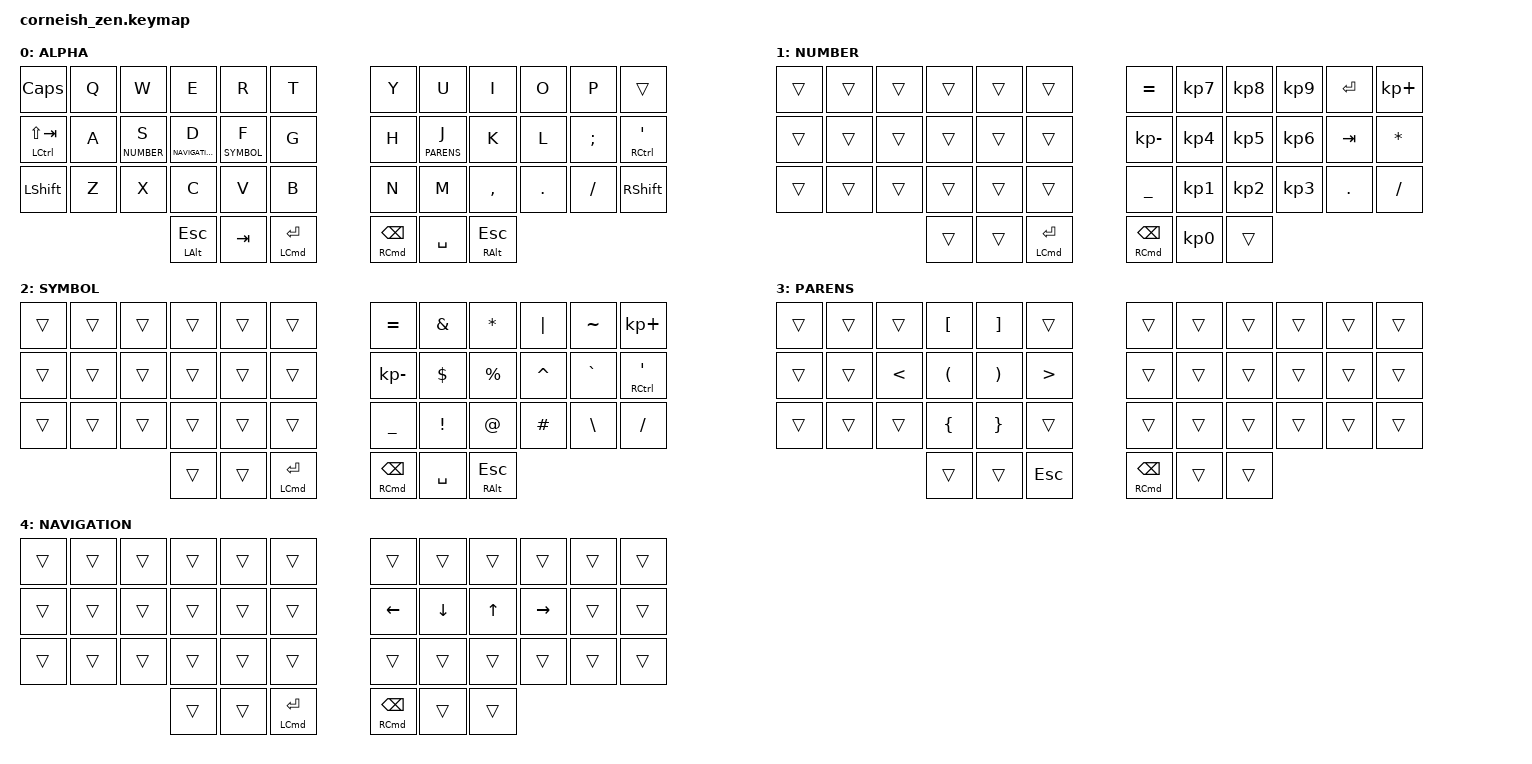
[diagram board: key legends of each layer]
/*
*
* Copyright (c) 2021 Darryl deHaan
* SPDX-License-Identifier: MIT
* Modified by Alex Harms 24 February 2023
*/

#include <behaviors.dtsi>
#include <dt-bindings/zmk/keys.h>
#include <dt-bindings/zmk/bt.h>

/ {
  chosen {
    zmk,matrix_transform = &default_transform;
    //zmk,matrix_transform = &five_column_transform;
  };
};

// Mystery stuff above, my keymap below - AH

// Alex's Layers // Layer definitions must remain in this order within the keymap. 
#define ALPHA 0
#define NUMBER 1
#define SYMBOL 2
#define PARENS 3
#define NAVIGATION 4 

// names to make the keymap easier to read
#define ___ENTER__ &kp ENTER
#define ___SPACE__ &kp SPACE
#define ___TAB____ &kp TAB
#define __COMMA___ &kp COMMA
#define __PERIOD__ &kp PERIOD
#define __TILDE___ &kp TILDE
#define _BACKTICK_ &kp GRAVE
#define __CARET___ &kp CARET
#define _AT_SIGN__ &kp AT_SIGN
#define ___BANG___ &kp EXCLAMATION
#define ___HASH___ &kp HASH
#define _BACKSLASH &kp BACKSLASH
#define ___PIPE___ &kp PIPE
#define __DOLLAR__ &kp DOLLAR
#define _PERCENT__ &kp PERCENT
#define __SLASH___ &kp SLASH
#define ___PLUS___ &kp KP_PLUS
#define __MINUS___ &kp KP_MINUS
#define _ASTERISK_ &kp ASTERISK
#define __EQUALS__ &kp EQUAL
#define _AMPERSAND &kp AMPERSAND
#define _SEMICOLON &kp SEMICOLON
#define _UNDERLINE &kp UNDERSCORE
#define _L_SHIFT__ &kp LEFT_SHIFT 
#define _R_SHIFT__ &kp RIGHT_SHIFT
#define _CAPSLOCK_ &kp CAPSLOCK
#define CTL_SQUOTE &mt RCTRL SINGLE_QUOTE
#define CTL_BAKTAB &mt LCTRL LS(TAB)
#define _CMD_TAB__ &mt LCMD TAB
#define _CMD_ENTER &rpi LCMD ENTER
#define CMD_BKSPCE &rpi RCMD BSPC

#define _L_ALT_ESC &mt LALT ESC
#define _R_ALT_ESC &mt RALT ESC  

#define _TO_ALPHA_ &to ALPHA

//parens layer with escape  
#define _L_PAREN__ &kp LEFT_PARENTHESIS
#define _R_PAREN__ &kp RIGHT_PARENTHESIS
#define _L_BRACKET &kp LEFT_BRACKET
#define _R_BRACKET &kp RIGHT_BRACKET
#define _L_CURLY__ &kp LEFT_BRACE
#define _R_CURLY__ &kp RIGHT_BRACE
#define _L_ANGLE__ &kp LESS_THAN
#define _R_ANGLE__ &kp GREATER_THAN
#define __ESCAPE__ &kp ESCAPE
#define ___LEFT___ &kp LEFT
#define __RIGHT___ &kp RIGHT
#define ____UP____ &kp UP
#define ___DOWN___ &kp DOWN

//nice numbers & letters
#define ____0_____ &kp KP_NUMBER_0
#define ____1_____ &kp KP_NUMBER_1
#define ____2_____ &kp KP_NUMBER_2
#define ____3_____ &kp KP_NUMBER_3
#define ____4_____ &kp KP_NUMBER_4
#define ____5_____ &kp KP_NUMBER_5
#define ____6_____ &kp KP_NUMBER_6
#define ____7_____ &kp KP_NUMBER_7
#define ____8_____ &kp KP_NUMBER_8
#define ____9_____ &kp KP_NUMBER_9

#define ____A_____ &kp A
#define ____B_____ &kp B
#define ____C_____ &kp C
#define __D_NAV___ &lt NAVIGATION D
#define ____E_____ &kp E
#define _F_SYMBOL_ &lt SYMBOL F
#define ____G_____ &kp G
#define ____H_____ &kp H 
#define ____I_____ &kp I
#define _J_PARENS_ &lt PARENS J
#define ____K_____ &kp K
#define ____L_____ &kp L
#define ____M_____ &kp M
#define ____N_____ &kp N
#define ____O_____ &kp O
#define ____P_____ &kp P
#define ____Q_____ &kp Q
#define ____R_____ &kp R
#define _S_NUMBER_ &lt NUMBER S
#define ____T_____ &kp T
#define ____U_____ &kp U
#define ____V_____ &kp V
#define ____W_____ &kp W
#define ____X_____ &kp X
#define ____Y_____ &kp Y
#define ____Z_____ &kp Z

// and a spacer...
#define _
#define __________ &trans//parent

/ {
behaviors {
  rpi: require_prior_idle {
    compatible = "zmk,behavior-hold-tap";
    #binding-cells = <2>;
    flavor = "hold-preferred";
    tapping-term-ms = <200>;
    quick-tap-ms = <200>;
    require-prior-idle-ms = <125>;
    bindings = <&kp>, <&kp>;
  };
};
  keymap {
    compatible = "zmk,keymap";
  
    layer_0 {
      label = "ALPHA";
      bindings = <
    _CAPSLOCK_ ____Q_____ ____W_____ ____E_____ ____R_____ ____T_____  ____Y_____ ____U_____ ____I_____ ____O_____ ____P_____ __________

    CTL_BAKTAB ____A_____ _S_NUMBER_ __D_NAV___ _F_SYMBOL_ ____G_____  ____H_____ _J_PARENS_ ____K_____ ____L_____ _SEMICOLON CTL_SQUOTE

    _L_SHIFT__ ____Z_____ ____X_____ ____C_____ ____V_____ ____B_____  ____N_____ ____M_____ __COMMA___ __PERIOD__ __SLASH___ _R_SHIFT__

                                  _L_ALT_ESC ___TAB____ _CMD_ENTER        CMD_BKSPCE ___SPACE__ _R_ALT_ESC
      >;
    };

    layer_1 { 
      label = "NUMBER";
      bindings = <
    __________ __________ __________ __________ __________ __________  __EQUALS__ ____7_____ ____8_____ ____9_____ ___ENTER__ ___PLUS___

    __________ __________ __________ __________ __________ __________  __MINUS___ ____4_____ ____5_____ ____6_____ ___TAB____ _ASTERISK_

    __________ __________ __________ __________ __________ __________  _UNDERLINE ____1_____ ____2_____ ____3_____ __PERIOD__ __SLASH___

                                  __________ __________ _CMD_ENTER        CMD_BKSPCE ____0_____ __________
      >;
    };

    layer_2 {
      label = "SYMBOL";
      bindings = <

    __________ __________ __________ __________ __________ __________  __EQUALS__ _AMPERSAND _ASTERISK_ ___PIPE___ __TILDE___ ___PLUS___

    __________ __________ __________ __________ __________ __________  __MINUS___ __DOLLAR__ _PERCENT__ __CARET___ _BACKTICK_ CTL_SQUOTE

    __________ __________ __________ __________ __________ __________  _UNDERLINE ___BANG___ _AT_SIGN__ ___HASH___ _BACKSLASH __SLASH___
    
                                  __________ __________ _CMD_ENTER        CMD_BKSPCE ___SPACE__ _R_ALT_ESC
      >; 
    };

    layer_3 {
      label = "PARENS";
      bindings = <

    __________ __________ __________ _L_BRACKET _R_BRACKET __________  __________ __________ __________ __________ __________ __________

    __________ __________ _L_ANGLE__ _L_PAREN__ _R_PAREN__ _R_ANGLE__  __________ __________ __________ __________ __________ __________

    __________ __________ __________ _L_CURLY__ _R_CURLY__ __________  __________ __________ __________ __________ __________ __________
    
                                  __________ __________ __ESCAPE__        CMD_BKSPCE __________ __________
      >; 
    };

    layer_4 {
      label = "NAVIGATION";
      bindings = <

    __________ __________ __________ __________ __________ __________  __________ __________ __________ __________ __________ __________

    __________ __________ __________ __________ __________ __________  ___LEFT___ ___DOWN___ ____UP____ __RIGHT___ __________ __________

    __________ __________ __________ __________ __________ __________  __________ __________ __________ __________ __________ __________
    
                                  __________ __________ _CMD_ENTER        CMD_BKSPCE __________ __________
      >; 
    };
  };
};
